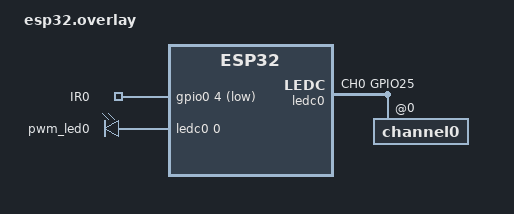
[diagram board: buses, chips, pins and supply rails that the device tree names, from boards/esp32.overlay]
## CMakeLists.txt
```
#-------------------------------------------------------------------------------
# Zephyr IR Tool
#
# Copyright (c) 2022 Jan Privara
# SPDX-License-Identifier: Apache-2.0

cmake_minimum_required(VERSION 3.20.0)
find_package(Zephyr REQUIRED HINTS $ENV{ZEPHYR_BASE})
project(ir_tool)

target_include_directories(app PRIVATE nec_protocol/lib)
target_sources(app PRIVATE 
    nec_protocol/lib/nec_prot.c
    src/ir_recv.c
    src/ir_send.c
    src/main.c
)
```

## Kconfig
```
# Copyright (c) 2022 Jan Privara
# SPDX-License-Identifier: Apache-2.0

menu "Zephyr"
source "Kconfig.zephyr"
endmenu

menu "IR-TOOL"
config PRINT_RECV_CMDS
    bool "Print details (timing) of received commands"

config ADJUST_TRANSMIT_PULSE
	int "Adjustment of transmitted pulse duration [us]"
	range -100 100
	default 0

config ADJUST_TRANSMIT_SPACE
	int "Adjustment of transmitted space duration [us]"
	range -100 100
	default 0

config ADJUST_RECEIVE_PULSE
	int "Adjustment of received pulse duration [us]"
	range -100 100
	default 0

config ADJUST_RECEIVE_SPACE
	int "Adjustment of received space duration [us]"
	range -100 100
	default 0
endmenu

module = APP
module-str = app
source "subsys/logging/Kconfig.template.log_config"
```

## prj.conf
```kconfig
# Copyright (c) 2022 Jan Privara
# SPDX-License-Identifier: Apache-2.0

CONFIG_MAIN_STACK_SIZE=4096

CONFIG_LOG=y

# GPIO
CONFIG_GPIO=y

# PWM
CONFIG_PWM=y

# Serial
CONFIG_SERIAL=y

# UART
CONFIG_UART_LINE_CTRL=y

# USB
CONFIG_USB_DEVICE_STACK=y
CONFIG_USB_DEVICE_PRODUCT="Zephyr IR Tool"

# Shell
CONFIG_SHELL=y
CONFIG_SHELL_LOG_BACKEND=y
CONFIG_SHELL_BACKEND_SERIAL_CHECK_DTR=y
CONFIG_SHELL_BACKEND_SERIAL_INIT_PRIORITY=51
```

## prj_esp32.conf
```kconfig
# Copyright (c) 2022 Jan Privara
# SPDX-License-Identifier: Apache-2.0

CONFIG_MAIN_STACK_SIZE=4096

CONFIG_LOG=y

# GPIO
CONFIG_GPIO=y

# PWM
CONFIG_PWM=y

# Serial
CONFIG_SERIAL=y

# UART
CONFIG_UART_LINE_CTRL=y

# Shell
CONFIG_SHELL=y
CONFIG_SHELL_LOG_BACKEND=y
```

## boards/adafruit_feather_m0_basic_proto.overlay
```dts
/*
 * Copyright (c) 2022 Jan Privara
 * SPDX-License-Identifier: Apache-2.0
 */

/ {
	chosen {
		zephyr,shell-uart = &cdc_acm_uart0;
	};

	aliases {
   		ir-sen = &ir_sensor0;
		ir-led = &pwm_led0;
   	};

	ir_sensor {
		compatible = "gpio-keys";
		ir_sensor0: ir_sensor0 {
			gpios = <&porta 16 GPIO_ACTIVE_LOW>;
			label = "IR0";
		};
	};

	pwmleds {
		compatible = "pwm-leds";

		pwm_led0: pwm_led_0 {
			pwms = <&tcc2 1 PWM_NSEC(26313)>;
		};
	};
};

&pinctrl {
	pwm_default: pwm_default {
		group1 {
			pinmux = <PA17E_TCC2_WO1>;
		};
	};
};

&tcc2 {
	status = "okay";
	compatible = "atmel,sam0-tcc-pwm";
	prescaler = <64>;
	#pwm-cells = <2>;

	pinctrl-0 = <&pwm_default>;
	pinctrl-names = "default";
};

zephyr_udc0: &usb0 {
	status = "okay";

	pinctrl-0 = <&usb_dc_default>;
	pinctrl-names = "default";

	cdc_acm_uart0: cdc_acm_uart0 {
		compatible = "zephyr,cdc-acm-uart";
		label = "CDC_ACM_0";
	};
};
```

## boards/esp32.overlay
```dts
/*
 * Copyright (c) 2022 Jan Privara
 * SPDX-License-Identifier: Apache-2.0
 */

/ {
	aliases {
   		ir-sen = &ir_sensor0;
		ir-led = &pwm_led0;
   	};

	ir_sensor {
		compatible = "gpio-keys";
		ir_sensor0: ir_sensor0 {
			gpios =  <&gpio0 4 GPIO_ACTIVE_LOW>;
			label = "IR0";
		};
	};

	pwmleds {
		compatible = "pwm-leds";

		pwm_led0: pwm_led_0 {
			pwms = <&ledc0 0 PWM_NSEC(26313) PWM_POLARITY_NORMAL>;
		};
	};
};

&pinctrl {
	ledc0_default: ledc0_default {
		group1 {
			pinmux = <LEDC_CH0_GPIO25>;
			output-enable;
		};
	};
};

&ledc0 {
	pinctrl-0 = <&ledc0_default>;
	pinctrl-names = "default";
	status = "okay";
	#address-cells = <1>;
	#size-cells = <0>;
	channel0@0 {
		reg = <0x0>;
		timer = <0>;
	};
};
```

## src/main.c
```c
/*
 * Copyright (c) 2022 Jan Privara
 * SPDX-License-Identifier: Apache-2.0
 */

#include <zephyr/kernel.h>
#include <zephyr/usb/usb_device.h>
#include <zephyr/drivers/uart.h>
#include <zephyr/shell/shell.h>
#include <zephyr/logging/log.h>

#include <stdlib.h>
#include <stdbool.h>

#include "ir_buf.h"
#include "ir_recv.h"
#include "ir_send.h"

LOG_MODULE_REGISTER(app, CONFIG_APP_LOG_LEVEL);

K_THREAD_STACK_DEFINE(ir_recv_thread_stack_area, IR_RECV_STACKSIZE);
static struct k_thread ir_recv_thread_data;

uint32_t samples_buf[IR_BUF_MAX_SAMPLES];
ir_raw_bit_buf_t ir_buf = {
	.buf = samples_buf,
	.length = 0
};

//------------------------------------------------------------------------------
static int cmd_send_nec(const struct shell *shell, size_t argc, char *argv[])
{
	long addr = strtol(argv[1], NULL, 0);
	long cmd = strtol(argv[2], NULL, 0);

	uint8_t nec_addr = addr;
	uint8_t nec_cmd = cmd;

	if (addr < 0 || addr > 255 || cmd < 0 || cmd > 255) {
		shell_fprintf(shell, SHELL_ERROR, "Invalid address or command!\n"
			"Allowed range for both is 0-255\n");
		return -1;
	}

	shell_fprintf(shell, SHELL_NORMAL,
		"Sending NEC\n  - Address: 0x%02X (%d)\n  - Command: 0x%02X (%d)\n",
		nec_addr, nec_addr, nec_cmd, nec_cmd);

	bool en_recv = false;

	if (ir_recv_is_enabled()) {
		ir_recv_disable();
		en_recv = true;
	}

	ir_send_nec(nec_addr, nec_cmd, &ir_buf);
	ir_buf.length = 0;

	if (en_recv)
		ir_recv_enable();

    return 0;
}

static int cmd_send_last(const struct shell *shell, size_t argc, char *argv[])
{
	bool en_recv = false;

	if (ir_recv_is_enabled()) {
		ir_recv_disable();
		en_recv = true;
	}

	if (ir_buf.length > 0) {
		shell_fprintf(shell, SHELL_NORMAL,
			"Sending last received command\n");

		ir_send_buf(&ir_buf);
	} else {
		shell_fprintf(shell, SHELL_NORMAL,
			"No received command available\n");
	}

	if (en_recv)
		ir_recv_enable();

    return 0;
}

static int cmd_set_timeout(const struct shell *shell, size_t argc, char *argv[])
{
	long val = strtol(argv[1], NULL, 10);
 
    if (val < 0) {
        shell_fprintf(shell, SHELL_ERROR, 
			"Invalid value (negative): %s\n", argv[1]);
        return -1;
    }
    else {
		ir_recv_set_timeout(val);
        shell_fprintf(shell, SHELL_NORMAL, 
			"IR receive timeout set to: %d ms\n", ir_recv_get_timeout());
    }

    return 0;
}

static int cmd_get_timeout(const struct shell *shell, size_t argc,
             char *argv[])
{
    shell_fprintf(shell, SHELL_NORMAL,
		"IR receive timeout: %d ms\n", ir_recv_get_timeout());
    return 0;
}

static int cmd_recv_enable(const struct shell *shell, size_t argc, char *argv[])
{
	ir_recv_enable();
    shell_fprintf(shell, SHELL_NORMAL, "IR receiving enabled\n");
    return 0;
}

static int cmd_recv_disable(const struct shell *shell, size_t argc, char *argv[])
{
	ir_recv_disable();
    shell_fprintf(shell, SHELL_NORMAL, "IR receiving disabled\n");
    return 0;
}

//------------------------------------------------------------------------------
SHELL_STATIC_SUBCMD_SET_CREATE(
	ir_send_cmds,
	SHELL_CMD_ARG(nec, NULL,
		"transmit NEC command\n"
		"args: <address> <command>\n",
		cmd_send_nec, 3, 0),
	SHELL_CMD_ARG(last_recv, NULL,
		"transmit last received command\n",
		cmd_send_last, 1, 0),
	SHELL_SUBCMD_SET_END
);

SHELL_CMD_REGISTER(ir_send, &ir_send_cmds, "Transmit IR command", NULL);

SHELL_STATIC_SUBCMD_SET_CREATE(
	ir_recv_cmds,
	SHELL_CMD_ARG(enable, NULL,
		"enable receiving\n",
		cmd_recv_enable, 1, 0),
	SHELL_CMD_ARG(disable, NULL,
		"disable receiving\n",
		cmd_recv_disable, 1, 0),
	SHELL_CMD_ARG(set_timeout, NULL,
		"set timeout\n"
		"args: <miliseconds>\n",
		cmd_set_timeout, 2, 0),
	SHELL_CMD_ARG(get_timeout, NULL,
		"get timeout\n",
		cmd_get_timeout, 1, 0),
	SHELL_SUBCMD_SET_END
);

SHELL_CMD_REGISTER(ir_recv, &ir_recv_cmds, "Receive IR command", NULL);

//------------------------------------------------------------------------------
void main(void)
{
#if DT_NODE_HAS_COMPAT(DT_CHOSEN(zephyr_shell_uart), zephyr_cdc_acm_uart)
	const struct device *dev;
	uint32_t dtr = 0;

	dev = DEVICE_DT_GET(DT_CHOSEN(zephyr_shell_uart));
	if (!device_is_ready(dev) || usb_enable(NULL)) {
		return;
	}

	while (!dtr) {
		uart_line_ctrl_get(dev, UART_LINE_CTRL_DTR, &dtr);
		k_sleep(K_MSEC(100));
	}
#endif

	ir_recv_set_buf(&ir_buf);
	ir_send_init();

	k_thread_create(&ir_recv_thread_data, ir_recv_thread_stack_area,
			K_THREAD_STACK_SIZEOF(ir_recv_thread_stack_area),
			ir_recv_thread_entry, NULL, NULL, NULL,
			IR_RECV_PRIORITY, 0, K_FOREVER);
	k_thread_name_set(&ir_recv_thread_data, "ir_recv_thread");

	k_thread_start(&ir_recv_thread_data);
}
```

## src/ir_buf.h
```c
/*
 * Copyright (c) 2022 Jan Privara
 * SPDX-License-Identifier: Apache-2.0
 */

#ifndef IR_BUF_H
#define IR_BUF_H

#include <inttypes.h>

#define IR_BUF_MAX_SAMPLES 200

/**
 * Infra-red samples buffer
 */
typedef struct
{
	int length;
	uint32_t * buf;
} ir_raw_bit_buf_t;

#endif // IR_BUF_H
```

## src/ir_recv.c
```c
/*
 * Copyright (c) 2022 Jan Privara
 * SPDX-License-Identifier: Apache-2.0
 */

#include "ir_recv.h"

#include <zephyr/kernel.h>
#include <zephyr/device.h>
#include <zephyr/drivers/gpio.h>
#include <zephyr/logging/log.h>

#include "nec_prot.h"

#define IR_SEN_NODE	DT_ALIAS(ir_sen)
#if !DT_NODE_HAS_STATUS(IR_SEN_NODE, okay)
#error "Unsupported board: ir-sen devicetree alias is not defined"
#endif

LOG_MODULE_DECLARE(app, CONFIG_APP_LOG_LEVEL);

static const struct gpio_dt_spec irsen = GPIO_DT_SPEC_GET(IR_SEN_NODE, gpios);
static struct gpio_callback irsen_cb_data;

struct k_timer tout_timer;
uint32_t recv_timeout_ms = 10;

ir_raw_bit_buf_t * ir_recv_buf;

int recv_enabled = 0;
int recv_started = 0;

int prev_val;
uint32_t prev_time;

typedef enum {
	ST_DISABLED = 0,
	ST_ENABLED,
	ST_RECEIVING,
	ST_FINISHED
} state_t;

state_t current_state = ST_DISABLED;

ir_tim_adj_t recv_tim_adj = {
	.pulse = CONFIG_ADJUST_RECEIVE_PULSE,
	.space = CONFIG_ADJUST_RECEIVE_SPACE
};

//------------------------------------------------------------------------------
void finished()
{
	recv_enabled = 0;
	current_state = ST_FINISHED;
}

void timeout_handler(struct k_timer *timer_id)
{
	uint32_t time = k_cycle_get_32();
	const uint32_t us_div = (sys_clock_hw_cycles_per_sec() / 1000000);

	// add the timeouted sample
	if (ir_recv_buf->length < CONFIG_IR_BUF_SIZE - 1) {
		ir_recv_buf->buf[ir_recv_buf->length++] = (time - prev_time) / us_div;
	}

	finished();
}

K_TIMER_DEFINE(tout_timer, timeout_handler, NULL);

//------------------------------------------------------------------------------
void irsen_change(const struct device *dev, struct gpio_callback *cb,
		    uint32_t pins)
{
	if (!recv_enabled)
		return;

	// capture pin state
	uint32_t time = k_cycle_get_32();
	int val = gpio_pin_get_dt(&irsen);

	if (val != 0 && val != 1) {
		LOG_ERR("GPIO read error\n");
		return;
	}

	const uint32_t us_div = (sys_clock_hw_cycles_per_sec() / 1000000);

	// wait for initial gap -> mark transition
	if (!recv_started)
	{
		if (val == 1)
		{
			prev_val = val;
			prev_time = time;
			recv_started = 1;
			ir_recv_buf->length = 0;
			current_state = ST_RECEIVING;
			k_timer_start(&tout_timer, K_MSEC(recv_timeout_ms), K_NO_WAIT);
		}
		return;
	}

	// reset the timeout counter
	k_timer_start(&tout_timer, K_MSEC(recv_timeout_ms), K_NO_WAIT);

	if (val == prev_val) {
		LOG_WRN("Missed a transition of IR sensor\n");
		return;
	} else if (ir_recv_buf->length < CONFIG_IR_BUF_SIZE - 1) {
		uint32_t duration = (time - prev_time) / us_div;

		duration += prev_val == 1 ? recv_tim_adj.pulse :
		                            recv_tim_adj.space;

		ir_recv_buf->buf[ir_recv_buf->length++] = duration;
		prev_time = time;
		prev_val = val;
	}

	if (ir_recv_buf->length == CONFIG_IR_BUF_SIZE)
	{
		k_timer_stop(&tout_timer);
		finished();
	}
}

//------------------------------------------------------------------------------
void init()
{
	if (!device_is_ready(irsen.port)) {
		LOG_ERR("irsen device %s is not ready\n",
		        irsen.port->name);
		return;
	}

	int ret = gpio_pin_configure_dt(&irsen, GPIO_INPUT);
	if (ret != 0) {
		LOG_ERR("Error %d: failed to configure %s pin %d\n",
		        ret, irsen.port->name, irsen.pin);
		return;
	}

	ret = gpio_pin_interrupt_configure_dt(&irsen, GPIO_INT_EDGE_BOTH);
	if (ret != 0) {
		LOG_ERR("Error %d: failed to configure interrupt on %s pin %d\n",
			ret, irsen.port->name, irsen.pin);
		return;
	}

	gpio_init_callback(&irsen_cb_data, irsen_change, BIT(irsen.pin));
	gpio_add_callback(irsen.port, &irsen_cb_data);
}

//------------------------------------------------------------------------------
ir_tim_adj_t ir_recv_get_tim_adj()
{
	return recv_tim_adj;
}

void ir_recv_set_tim_adj(ir_tim_adj_t tim)
{
	recv_tim_adj = tim;
}

//------------------------------------------------------------------------------
void ir_recv_enable()
{
	if (current_state != ST_DISABLED && current_state != ST_FINISHED)
		return;

	recv_started = 0;
	recv_enabled = 1;
	current_state = ST_ENABLED;
}

void ir_recv_disable()
{
	recv_enabled = 0;
	k_timer_stop(&tout_timer);
	current_state = ST_DISABLED;
}

bool ir_recv_is_enabled()
{
	return current_state != ST_DISABLED;
}

void ir_recv_set_timeout(uint32_t timeout_ms)
{
	recv_timeout_ms = timeout_ms;
}

uint32_t ir_recv_get_timeout()
{
	return recv_timeout_ms;
}

void ir_recv_set_buf(ir_raw_bit_buf_t * buf)
{
	ir_recv_buf = buf;
}

void decode_ir_buf()
{
	// NEC
	nec_waveform_t nec_wave = {
		.length = ir_recv_buf->length,
		.samples = ir_recv_buf->buf
	};

	nec_decoded_data_t nec_result;

	int samples_used = nec_decode(&nec_wave, &nec_result);
	
	if (samples_used > 0) {
		LOG_INF("NEC address: 0x%04x", nec_result.address);
		LOG_INF("NEC command: 0x%04x", nec_result.command);
	} else { 
		LOG_INF("NEC decoding failed");
	}
}

//------------------------------------------------------------------------------
void ir_recv_thread_entry()
{
	init();

	ir_recv_enable();

	while (1) {
		if (current_state == ST_FINISHED) {
			LOG_INF("Receiving finished, %d samples", ir_recv_buf->length);
			
#ifdef CONFIG_PRINT_RECV_CMDS
			// log the received command
			for (int i = 0; i < ir_recv_buf->length; i+=2) {
				if (i + 1 < ir_recv_buf->length)
					LOG_INF("%03d: %d - %d", i, ir_recv_buf->buf[i],
					        ir_recv_buf->buf[i+1]);
				else
					LOG_INF("%03d: %d", i, ir_recv_buf->buf[i]);
				k_msleep(10);
			}
#endif // CONFIG_PRINT_RECV_CMDS

			decode_ir_buf();

			ir_recv_enable();
		}

		k_msleep(1);
	}
}
```

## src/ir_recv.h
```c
/*
 * Copyright (c) 2022 Jan Privara
 * SPDX-License-Identifier: Apache-2.0
 */

#ifndef IR_RECV_H
#define IR_RECV_H

#include <inttypes.h>
#include <stdbool.h>
#include "ir_buf.h"

#define IR_RECV_STACKSIZE 1024
#define IR_RECV_PRIORITY 7

/**
 * @brief Enable IR receiving
 *
 * Enable IR receiving.
 * If it is already enabled, this function has no effect, i.e.
 * the possible ongoing receiving process is not affected (reset etc.).
 */
void ir_recv_enable();

/**
 * @brief Disable IR receiving
 *
 * Disable IR receiving.
 * If there is a receiving in progress, it will be cancelled.
 */
void ir_recv_disable();

/**
 * @brief Get IR receiving state
 *
 * @return true if receiving is enabled, false otherwise
 */
bool ir_recv_is_enabled();

/**
 * @brief Set receiving timeout
 *
 * @param timeout_ms Receiving timeout in miliseconds. 
 */
void ir_recv_set_timeout(uint32_t timeout_ms);

/**
 * @brief Get receiving timeout
 *
 * @return Receiving timeout in miliseconds. 
 */
uint32_t ir_recv_get_timeout();

/**
 * @brief Set receive IR samples buffer
 *
 * @param buf Pointer to the IR samples buffer. 
 */
void ir_recv_set_buf(ir_raw_bit_buf_t * buf);

/**
 * @brief Receive thread entry function
 *
 * Entry function for the IR receive thread.
 */
void ir_recv_thread_entry();

#endif // IR_RECV_H
```

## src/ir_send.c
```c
/*
 * Copyright (c) 2022 Jan Privara
 * SPDX-License-Identifier: Apache-2.0
 */

#include "ir_send.h"

#include <zephyr/kernel.h>
#include <zephyr/device.h>
#include <zephyr/drivers/pwm.h>
#include <zephyr/logging/log.h>

#include "nec_prot.h"

#define IR_LED_NODE	DT_ALIAS(ir_led)
#if !DT_NODE_HAS_STATUS(IR_LED_NODE, okay)
#error "Unsupported board: ir-led devicetree alias is not defined"
#endif

LOG_MODULE_DECLARE(app, CONFIG_APP_LOG_LEVEL);

static const struct pwm_dt_spec irled = PWM_DT_SPEC_GET(IR_LED_NODE);

const uint32_t period_38khz = PWM_NSEC(26313U);
const uint32_t pulse_38khz  = PWM_NSEC(26313U) / 3U;

ir_tim_adj_t send_tim_adj = {
	.pulse = CONFIG_ADJUST_TRANSMIT_PULSE,
	.space = CONFIG_ADJUST_TRANSMIT_SPACE
};

//------------------------------------------------------------------------------
ir_tim_adj_t ir_send_get_tim_adj()
{
	return send_tim_adj;
}

void ir_send_set_tim_adj(ir_tim_adj_t tim)
{
	send_tim_adj = tim;
}

//------------------------------------------------------------------------------
void ir_send_init()
{
	if (!device_is_ready(irled.dev)) {
		LOG_ERR("ir_led device %s is not ready\n",
		        irled.dev->name);
		return;
	}

	int ret = pwm_set_dt(&irled, period_38khz, 0);
	if (ret) {
		LOG_ERR("Error %d: failed to set pulse width\n", ret);
		return;
	}
}

//------------------------------------------------------------------------------
void ir_send_buf(ir_raw_bit_buf_t * buf)
{
	int ret;
	uint32_t prev;
	uint32_t now;
	uint32_t usec_elapsed;

	prev = k_cycle_get_32();

	for (int i = 0; i < buf->length; i+=2) {
		ret = pwm_set_dt(&irled, period_38khz, pulse_38khz);
		if (ret) {
			LOG_ERR("Error %d: failed to set pulse width\n", ret);
			return;
		}

		do {
			now = k_cycle_get_32();
			usec_elapsed = (now - prev) / (CONFIG_SYS_CLOCK_HW_CYCLES_PER_SEC / 1000000);
		} while (usec_elapsed < (buf->buf[i] + send_tim_adj.pulse));
		prev = now;

		ret = pwm_set_dt(&irled, period_38khz, 0);
		if (ret) {
			LOG_ERR("Error %d: failed to set pulse width\n", ret);
			return;
		}

		if (i + 1 < buf->length) {
			do {
				now = k_cycle_get_32();
				usec_elapsed = (now - prev) / (CONFIG_SYS_CLOCK_HW_CYCLES_PER_SEC / 1000000);
			} while (usec_elapsed < (buf->buf[i+1] + send_tim_adj.space));
			prev = now;
		}
	}
}

//------------------------------------------------------------------------------
void ir_send_nec(uint8_t address, uint8_t command, ir_raw_bit_buf_t * buf)
{
	nec_waveform_t nec_wave = {
		.samples = buf->buf
	};

	nec_encode(address, command, &nec_wave);

	buf->length = nec_wave.length;

	ir_send_buf(buf);
}
```

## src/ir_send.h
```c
/*
 * Copyright (c) 2022 Jan Privara
 * SPDX-License-Identifier: Apache-2.0
 */

#ifndef IR_SEND_H
#define IR_SEND_H

#include "ir_buf.h"

/**
 * @brief Initialize IR send
 */
void ir_send_init();

/**
 * @brief Transmit IR samples buffer
 *
 * @param buf Pointer to the IR samples buffer.
 */

void ir_send_buf(ir_raw_bit_buf_t * buf);

/**
 * @brief Transmit IR NEC protocol command
 *
 * @param address NEC address.
 * @param command NEC command.
 * @param buf Pointer to the IR samples buffer.
 */
void ir_send_nec(uint8_t address, uint8_t command, ir_raw_bit_buf_t * buf);

#endif // IR_SEND_H
```

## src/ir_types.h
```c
/*
 * Copyright (c) 2022 Jan Privara
 * SPDX-License-Identifier: Apache-2.0
 */

#ifndef IR_BUF_H
#define IR_BUF_H

#include <inttypes.h>

/**
 * Infra-red samples buffer
 */
typedef struct
{
	int length;
	uint32_t * buf;
} ir_raw_bit_buf_t;

/**
 * Infra-red timing adjustments for both 
 * pulse duration and space duration in in microseconds (usec)
 */
typedef struct
{
	int32_t pulse;
	int32_t space;
} ir_tim_adj_t;

#endif // IR_BUF_H
```
